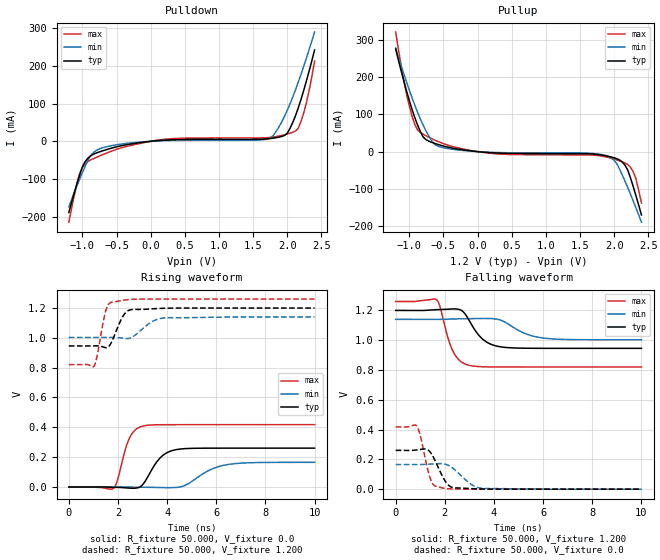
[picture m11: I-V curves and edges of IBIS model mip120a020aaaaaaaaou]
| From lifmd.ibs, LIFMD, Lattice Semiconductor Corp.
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|   Model mip120a020aaaaaaaaou
[Model] mip120a020aaaaaaaaou
Model_type Output
Polarity   Non-Inverting
Vmeas =  0.700V
Cref =  0.0F
Rref =  1.000M
Vref =  0.0V
C_comp   5.000pF   4.000pF   5.500pF
[Temperature Range]   25.000   0.125k   -40.000
[Voltage Range]   1.200V   1.140V   1.260V
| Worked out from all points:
|   slope of the pulldown table from 0 to 0.18 V, typ, clamps not added: 63.3 ohm
|   slope of the pullup table from 0 to 0.18 V, typ, clamps not added: 65.9 ohm
|   rising waveform, R_fixture 50.000, V_fixture 0.0: 20-80 % time 646ps typ, 1.04ns min, 446ps max; typ from 0 V to 0.26 V
|   rising waveform, R_fixture 50.000, V_fixture 1.200: 20-80 % time 413ps typ, 647ps min, 302ps max; typ from 0.946 V to 1.2 V
|   falling waveform, R_fixture 50.000, V_fixture 1.200: 20-80 % time 688ps typ, 991ps min, 499ps max; typ from 1.2 V to 0.946 V
|   falling waveform, R_fixture 50.000, V_fixture 0.0: 20-80 % time 470ps typ, 678ps min, 347ps max; typ from 0.26 V to 0 V
[Pulldown]
|Voltage   I(typ)   I(min)   I(max)
-1.2V     -188.9mA   -173.6mA   -214.6mA
-1.08V    -112.3mA   -117.7mA   -110.6mA
-1V       -67.22mA   -82.71mA   -69.33mA
-880mV    -38.56mA   -37.96mA   -49.45mA
-720mV    -26.17mA   -17.96mA   -36.61mA
200mV     3.083mA    1.667mA    5.25mA
1.76V     7.593mA    9.833mA    10.51mA
1.88V     11.21mA    38.85mA    14.05mA
2V        21.42mA    82.4mA     19.52mA
2.16V     88.15mA    156.5mA    34.54mA
2.28V     159.9mA    220.8mA    102.5mA
2.4V      242.3mA    289.8mA    212.7mA
[Pullup]
|Voltage   I(typ)   I(min)   I(max)
-1.2V     275.5mA    278.5mA    321.2mA
-1V       136.8mA    165.1mA    122mA
-920mV    91.32mA    124.8mA    73.32mA
-840mV    54.36mA    88.32mA    51.77mA
-640mV    22.91mA    21.63mA    32.04mA
-480mV    14.02mA    9.615mA    20.14mA
240mV     -3.395mA   -2.134mA   -5.356mA
1.92V     -12.86mA   -13.28mA   -16.03mA
2.12V     -28.22mA   -63.16mA   -27.54mA
2.24V     -71.02mA   -114.7mA   -42.24mA
2.32V     -118.8mA   -151.5mA   -73.53mA
2.4V      -170.1mA   -189.6mA   -138.1mA
[Ramp]
| variable   typ   min   max
dV/dt_r   0.156/0.647n   99.248m/1.043n   0.251/0.450n
dV/dt_f   0.153/0.704n   82.377m/1.006n   0.264/0.502n
R_load = 50.000
[Rising Waveform]
R_fixture= 50.000
V_fixture= 0.0
V_fixture_min= 0.0
V_fixture_max= 0.0
|time   V(typ)   V(min)   V(max)
0s        0V         0V         0V
1.837ns   -2.23mV    48.26uV    -6.154mV
1.965ns   -2.627mV   125.7uV    37.58mV
2.452ns   -7.505mV   -320.1uV   321.7mV
2.682ns   -8.163mV   -1.157mV   379.5mV
2.991ns   13.39mV    -1.628mV   407.4mV
3.713ns   194.5mV    -3.763mV   417.3mV
4.322ns   248.8mV    -3.48mV    417.8mV
6.359ns   260.4mV    147.4mV    417.8mV
10ns      260.4mV    165.4mV    417.8mV
[Rising Waveform]
R_fixture= 50.000
V_fixture= 1.200
V_fixture_min= 1.140
V_fixture_max= 1.260
|time   V(typ)   V(min)   V(max)
0s        945.6mV    1.003V     820.3mV
1.028ns   946mV      1.003V     810.7mV
1.141ns   946.3mV    1.003V     870.3mV
1.502ns   934.1mV    1.003V     1.18V
1.751ns   975.8mV    1.003V     1.24V
2.221ns   1.149V     997.3mV    1.252V
2.541ns   1.189V     1.001V     1.258V
3.362ns   1.194V     1.106V     1.26V
3.863ns   1.198V     1.133V     1.26V
10ns      1.2V       1.14V      1.26V
[Falling Waveform]
R_fixture= 50.000
V_fixture= 1.200
V_fixture_min= 1.140
V_fixture_max= 1.260
|time   V(typ)   V(min)   V(max)
0s        1.2V       1.14V      1.26V
1.658ns   1.205V     1.14V      1.272V
1.799ns   1.206V     1.14V      1.228V
2.318ns   1.21V      1.142V     930.2mV
2.69ns    1.198V     1.144V     852.4mV
2.95ns    1.144V     1.145V     833.4mV
3.55ns    1.006V     1.146V     821.9mV
4.241ns   956.4mV    1.136V     820.4mV
5.86ns    945.7mV    1.018V     820.3mV
10ns      945.6mV    1.003V     820.3mV
[Falling Waveform]
R_fixture= 50.000
V_fixture= 0.0
V_fixture_min= 0.0
V_fixture_max= 0.0
|time   V(typ)   V(min)   V(max)
0s        260.4mV    165.4mV    417.8mV
859ps     263.3mV    165.1mV    422.5mV
1.008ns   266.7mV    165.5mV    354.4mV
1.399ns   249.8mV    168.2mV    75.75mV
1.658ns   172.3mV    170.6mV    18.2mV
2.061ns   43.01mV    165.4mV    4.151mV
2.37ns    9.691mV    134.8mV    1.251mV
3.071ns   3.632mV    32.52mV    82.98uV
3.51ns    1.247mV    5.817mV    14.92uV
10ns      0V         0V         0V
